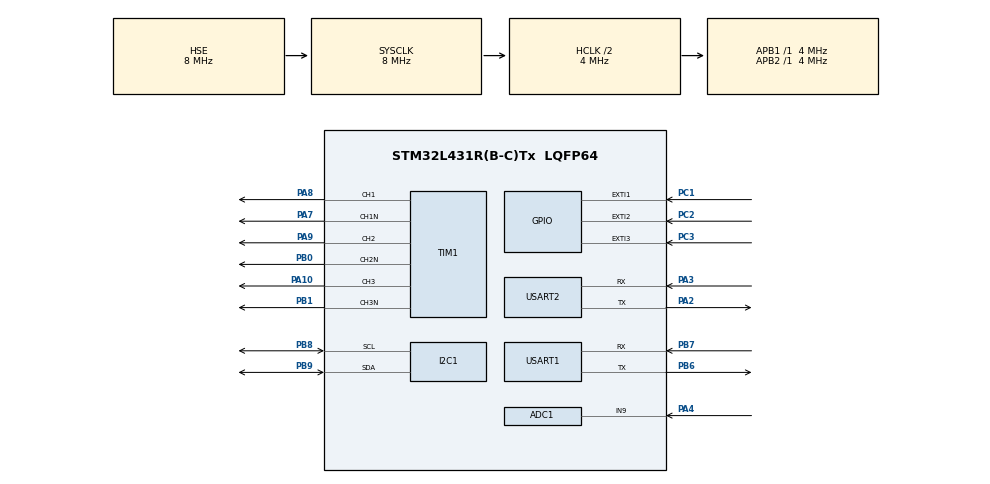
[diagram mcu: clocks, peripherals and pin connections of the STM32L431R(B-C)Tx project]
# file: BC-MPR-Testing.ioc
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ADC1.Channel-0\#ChannelRegularConversion=ADC_CHANNEL_9
ADC1.NbrOfConversionFlag=1
ADC1.OffsetNumber-0\#ChannelRegularConversion=ADC_OFFSET_NONE
ADC1.Rank-0\#ChannelRegularConversion=1
ADC1.Resolution=ADC_RESOLUTION_8B
ADC1.SamplingTime-0\#ChannelRegularConversion=ADC_SAMPLETIME_2CYCLES_5
ADC1.master=1
I2C1.Timing=0x00100D14
Mcu.Family=STM32L4
Mcu.Name=STM32L431R(B-C)Tx
Mcu.Package=LQFP64
NVIC.EXTI1_IRQn=true\:0\:0\:false\:false\:true\:true\:true\:true
NVIC.EXTI2_IRQn=true\:0\:0\:false\:false\:true\:true\:true\:true
NVIC.EXTI3_IRQn=true\:0\:0\:false\:false\:true\:true\:true\:true
NVIC.PriorityGroup=NVIC_PRIORITYGROUP_4
PA10.Signal=S_TIM1_CH3
PA13\ (JTMS-SWDIO).Mode=JTAG_5_pins
PA13\ (JTMS-SWDIO).Signal=SYS_JTMS-SWDIO
PA14\ (JTCK-SWCLK).Mode=JTAG_5_pins
PA14\ (JTCK-SWCLK).Signal=SYS_JTCK-SWCLK
PA15\ (JTDI).Mode=JTAG_5_pins
PA15\ (JTDI).Signal=SYS_JTDI
PA2.Mode=Asynchronous
PA2.Signal=USART2_TX
PA3.Mode=Asynchronous
PA3.Signal=USART2_RX
PA4.Signal=ADCx_IN9
PA7.Mode=PWM Generation1 CH1 CH1N
PA7.Signal=TIM1_CH1N
PA8.Signal=S_TIM1_CH1
PA9.Signal=S_TIM1_CH2
PB0.Mode=PWM Generation2 CH2 CH2N
PB0.Signal=TIM1_CH2N
PB1.Mode=PWM Generation3 CH3 CH3N
PB1.Signal=TIM1_CH3N
PB3\ (JTDO-TRACESWO).Mode=JTAG_5_pins
PB3\ (JTDO-TRACESWO).Signal=SYS_JTDO-SWO
PB4\ (NJTRST).Mode=JTAG_5_pins
PB4\ (NJTRST).Signal=SYS_JTRST
PB6.Mode=Asynchronous
PB6.Signal=USART1_TX
PB7.Mode=Asynchronous
PB7.Signal=USART1_RX
PB8.Mode=I2C
PB8.Signal=I2C1_SCL
PB9.Mode=I2C
PB9.Signal=I2C1_SDA
PC1.Signal=GPXTI1
PC14-OSC32_IN\ (PC14).Mode=LSE-External-Oscillator
PC14-OSC32_IN\ (PC14).Signal=RCC_OSC32_IN
PC15-OSC32_OUT\ (PC15).Mode=LSE-External-Oscillator
PC15-OSC32_OUT\ (PC15).Signal=RCC_OSC32_OUT
PC2.Signal=GPXTI2
PC3.Signal=GPXTI3
PH0-OSC_IN\ (PH0).Mode=HSE-External-Oscillator
PH0-OSC_IN\ (PH0).Signal=RCC_OSC_IN
PH1-OSC_OUT\ (PH1).Mode=HSE-External-Oscillator
PH1-OSC_OUT\ (PH1).Signal=RCC_OSC_OUT
ProjectManager.HeapSize=0x200
ProjectManager.StackSize=0x400
ProjectManager.TargetToolchain=STM32CubeIDE
RCC.ADCFreq_Value=32000000
RCC.AHBCLKDivider=RCC_SYSCLK_DIV2
RCC.AHBFreq_Value=4000000
RCC.APB1Freq_Value=4000000
RCC.APB1TimFreq_Value=4000000
RCC.APB2Freq_Value=4000000
RCC.APB2TimFreq_Value=4000000
RCC.CortexFreq_Value=4000000
RCC.HCLKFreq_Value=4000000
RCC.HSE_VALUE=8000000
RCC.HSI48_VALUE=48000000
RCC.HSI_VALUE=16000000
RCC.MSI_VALUE=4000000
RCC.PLLSourceVirtual=RCC_PLLSOURCE_HSE
RCC.SYSCLKFreq_VALUE=8000000
RCC.SYSCLKSource=RCC_SYSCLKSOURCE_HSE
RCC.VCOOutputFreq_Value=64000000
SH.ADCx_IN9.0=ADC1_IN9,IN9-Single-Ended
SH.S_TIM1_CH1.0=TIM1_CH1,PWM Generation1 CH1 CH1N
SH.S_TIM1_CH2.0=TIM1_CH2,PWM Generation2 CH2 CH2N
SH.S_TIM1_CH3.0=TIM1_CH3,PWM Generation3 CH3 CH3N
TIM1.Channel-PWM\ Generation1\ CH1\ CH1N=TIM_CHANNEL_1
TIM1.Channel-PWM\ Generation2\ CH2\ CH2N=TIM_CHANNEL_2
TIM1.Channel-PWM\ Generation3\ CH3\ CH3N=TIM_CHANNEL_3
USART1.VirtualMode-Asynchronous=VM_ASYNC
USART2.VirtualMode-Asynchronous=VM_ASYNC
VP_TIM1_VS_ClockSourceINT.Mode=Internal
board=custom

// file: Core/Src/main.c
/* USER CODE BEGIN Header */
/**
  ******************************************************************************
  * @file           : main.c
  * @brief          : Main program body
  ******************************************************************************
  * @attention
  *
  * Copyright (c) 2025 STMicroelectronics.
  * All rights reserved.
  *
  * This software is licensed under terms that can be found in the LICENSE file
  * in the root directory of this software component.
  * If no LICENSE file comes with this software, it is provided AS-IS.
  *
  ******************************************************************************
  */
/* USER CODE END Header */
#include "main.h"

/* USER CODE BEGIN Includes */
#include <stdio.h>
/* USER CODE END Includes */

/* USER CODE BEGIN PD */
// BQ25756 I2C and register addresses
#define BQ25756_ADDR 			0x6B << 1

#define BQ25756_CHG_VLIM 			0x00
#define BQ25756_CHG_ILIM			0x02
#define BQ25756_INP_DPM_ILIM		0x06
#define BQ25756_INP_DPM_VLIM		0x08
#define BQ25756_INP_REV_ILIM		0x0A
#define BQ25756_INP_REV_VLIM		0x0C
#define BQ25756_PCHG_ILIM			0x10
#define BQ25756_CHG_ITERM			0x12
#define BQ25756_PCHG_TERM_CTRL		0x14
#define BQ25756_TIM_CTRL			0x15
#define BQ25756_3STG_CHG_CTRL		0x16
#define BQ25756_CHGR_CTRL			0x17
#define BQ25756_PIN_CTRL			0x18
#define BQ25756_PWR_REV_CTRL		0x19
#define BQ25756_MPPT_CTRL			0x1A
#define BQ25756_TS_CHG_THR_CTRL		0x1B
#define BQ25756_TS_CHG_RGN_CTRL		0x1C
#define BQ25756_TS_REV_THR_CTRL		0x1D
#define BQ25756_REV_UV_CTRL			0x1E
#define BQ25756_VAC_MPP_DET			0x1F
#define BQ25756_CHGR_STAT1			0x21
#define BQ25756_CHGR_STAT2			0x22
#define BQ25756_CHGR_STAT3			0x23
#define BQ25756_FLT_STAT			0x24
#define BQ25756_CHGR_FLAG1			0x25
#define BQ25756_CHGR_FLAG2			0x26
#define BQ25756_FLT_FLAG			0x27
#define BQ25756_CHGR_MSK1			0x28
#define BQ25756_CHGR_MSK2			0x29
#define BQ25756_FLT_MSK				0x2A
#define BQ25756_ADC_CTRL			0x2B
#define BQ25756_ADC_CH_CTRL			0x2C
#define BQ25756_IAC_ADC				0x2D
#define BQ25756_IBAT_ADC			0x2F
#define BQ25756_VAC_ADC				0x31
#define BQ25756_VBAT_ADC			0x33
#define BQ25756_TS_ADC				0x37
#define BQ25756_VFB_ADC				0x39
#define BQ25756_GDRV_STR_CTRL		0x3B
#define BQ25756_GDRV_DT_CTRL		0x3C
#define BQ25756_PART_INFO			0x3D
#define BQ25756_REV_IBAT_DSG		0x62

/* USER CODE END PD */

ADC_HandleTypeDef hadc1;

I2C_HandleTypeDef hi2c1;

TIM_HandleTypeDef htim1;

UART_HandleTypeDef huart1;
UART_HandleTypeDef huart2;

/* USER CODE BEGIN PV */
uint8_t currentDutyCycle = 0;
/* USER CODE END PV */

void SystemClock_Config(void);
static void MX_GPIO_Init(void);
static void MX_I2C1_Init(void);
static void MX_TIM1_Init(void);
static void MX_USART1_UART_Init(void);
static void MX_USART2_UART_Init(void);
static void MX_ADC1_Init(void);
/* USER CODE BEGIN PFP */
uint16_t ReadThrottle();
uint8_t GetHallSector();
void SetCommutation(uint8_t sector, uint8_t duty);
/* USER CODE END PFP */

/* USER CODE BEGIN 0 */
int _write(int file, char *data, int len) {
    // Redirect printf to UART
    HAL_UART_Transmit(&huart2, (uint8_t*)data, len, HAL_MAX_DELAY);
    return len;
}
/* USER CODE END 0 */

int main(void)
{

  /* MCU Configuration--------------------------------------------------------*/

  /* Reset of all peripherals, Initializes the Flash interface and the Systick. */
  HAL_Init();

  /* USER CODE BEGIN Init */
  // Arrays for I2C communication
  uint8_t txData[3] = {0};
  uint8_t rxData[16] = {0};

  // Variables for storing read values from ADCs
  int16_t busCurrentADC = 0;
  int16_t battCurrentADC = 0;
  uint16_t busVoltageADC = 0;
  uint16_t battVoltageADC = 0;

  // 32-bit variables to avoid overflow when converting bit-step of ADCs to actual values
  int32_t busCurrent32 = 0;
  int32_t battCurrent32 = 0;
  uint32_t busVoltage32 = 0;
  uint32_t battVoltage32 = 0;

  uint8_t chgStatus1 = 0;
  uint8_t chgStatus2 = 0;
  uint8_t chgStatus3 = 0;
  uint8_t fltStatus = 0;

  /* USER CODE END Init */

  /* Configure the system clock */
  SystemClock_Config();

  /* Initialize all configured peripherals */
  MX_GPIO_Init();
  MX_I2C1_Init();
  MX_TIM1_Init();
  MX_USART1_UART_Init();
  MX_USART2_UART_Init();
  MX_ADC1_Init();
  /* USER CODE BEGIN 2 */
  /********* Configuring the BQ25756 registers *********/
  // Charge voltage limit: FB limit set to 1.532V
  txData[0] = BQ25756_CHG_VLIM;
  txData[1] = 0x0E;
  txData[2] = 0x00;
  HAL_I2C_Master_Transmit(&hi2c1, BQ25756_ADDR, txData, 3, HAL_MAX_DELAY);

  // Charge current limit: Set to 15A (6000mA with 5mΩ resistor = 15000mA with 2mΩ resistor)
  txData[0] = BQ25756_CHG_ILIM;
  txData[1] = 0xE0;
  txData[2] = 0x01;
  HAL_I2C_Master_Transmit(&hi2c1, BQ25756_ADDR, txData, 3, HAL_MAX_DELAY);

  // Input current DPM limit: Set to 25A (10000mA with 5mΩ resistor = 25000mA with 2mΩ resistor)
  txData[0] = BQ25756_INP_DPM_ILIM;
  txData[1] = 0x20;
  txData[2] = 0x03;
  HAL_I2C_Master_Transmit(&hi2c1, BQ25756_ADDR, txData, 3, HAL_MAX_DELAY);

  // Input voltage DPM limit: Set to 48V
  txData[0] = BQ25756_INP_DPM_VLIM;
  txData[1] = 0x80;
  txData[2] = 0x25;
  HAL_I2C_Master_Transmit(&hi2c1, BQ25756_ADDR, txData, 3, HAL_MAX_DELAY);

  // Reverse mode input current limit: Set to 36A (14400mA with 5mΩ resistor = 36000mA with 2mΩ resistor)
  txData[0] = BQ25756_INP_REV_ILIM;
  txData[1] = 0x80;
  txData[2] = 0x04;
  HAL_I2C_Master_Transmit(&hi2c1, BQ25756_ADDR, txData, 3, HAL_MAX_DELAY);

  // Reverse mode input voltage regulation: Set to 36V
  txData[0] = BQ25756_INP_REV_VLIM;
  txData[1] = 0x20;
  txData[2] = 0x1C;
  HAL_I2C_Master_Transmit(&hi2c1, BQ25756_ADDR, txData, 3, HAL_MAX_DELAY);

  // Precharge current limit: Set to 3A (1200mA with 5mΩ resistor = 3000mA with 2mΩ resistor)
  txData[0] = BQ25756_PCHG_ILIM;
  txData[1] = 0x60;
  txData[2] = 0x00;
  HAL_I2C_Master_Transmit(&hi2c1, BQ25756_ADDR, txData, 3, HAL_MAX_DELAY);

  // Timer Control: Disable watchdog
  txData[0] = BQ25756_TIM_CTRL;
  txData[1] = 0x0D;
  HAL_I2C_Master_Transmit(&hi2c1, BQ25756_ADDR, txData, 2, HAL_MAX_DELAY);

  // Charger Control: Disable charging
  txData[0] = BQ25756_CHGR_CTRL;
  txData[1] = 0xD0;
  HAL_I2C_Master_Transmit(&hi2c1, BQ25756_ADDR, txData, 2, HAL_MAX_DELAY);

  // Pin configurations: Disable ICHG, ILIM_HIZ pins
  txData[0] = BQ25756_PIN_CTRL;
  txData[1] = 0x00;
  HAL_I2C_Master_Transmit(&hi2c1, BQ25756_ADDR, txData, 2, HAL_MAX_DELAY);

  // TS charging threshold control: Set thresholds as -10ºC COLD, 5ºC COOL, 50ºC WARM, 60ºC HOT
  txData[0] = BQ25756_TS_CHG_THR_CTRL;
  txData[1] = 0xA0;
  HAL_I2C_Master_Transmit(&hi2c1, BQ25756_ADDR, txData, 2, HAL_MAX_DELAY);

  // TS charging region behavior: Ignore TS pin for charging control
  txData[0] = BQ25756_TS_CHG_RGN_CTRL;
  txData[1] = 0x5A;
  HAL_I2C_Master_Transmit(&hi2c1, BQ25756_ADDR, txData, 2, HAL_MAX_DELAY);

  // Reverse undervoltage control: Fix UVP at 3.3V
  txData[0] = BQ25756_REV_UV_CTRL;
  txData[1] = 0x20;
//  HAL_I2C_Master_Transmit(&hi2c1, BQ25756_ADDR, txData, 2, HAL_MAX_DELAY);

  // ADC control: Enable ADC in one-shot mode, 15-bit effective resolution (24ms sample time)
  txData[0] = BQ25756_ADC_CTRL;
  txData[1] = 0xC0;
  HAL_I2C_Master_Transmit(&hi2c1, BQ25756_ADDR, txData, 2, HAL_MAX_DELAY);

  // ADC channel control: Enable all ADC channels
  txData[0] = BQ25756_ADC_CH_CTRL;
  txData[1] = 0x00;
  HAL_I2C_Master_Transmit(&hi2c1, BQ25756_ADDR, txData, 2, HAL_MAX_DELAY);

  // Reverse mode battery discharge: Disable fast transient response
  txData[0] = BQ25756_REV_IBAT_DSG;
  txData[1] = 0x00;
  HAL_I2C_Master_Transmit(&hi2c1, BQ25756_ADDR, txData, 2, HAL_MAX_DELAY);

  // Power path and reverse mode control: Enable reverse mode (regulate VAC)
  txData[0] = BQ25756_PWR_REV_CTRL;
  txData[1] = 0x01; // TODO: Check if enabling IAC load changes anything
  HAL_I2C_Master_Transmit(&hi2c1, BQ25756_ADDR, txData, 2, HAL_MAX_DELAY);

  /* USER CODE END 2 */

  /* Infinite loop */
  /* USER CODE BEGIN WHILE */
  while (1)
  {
	  // 1 second delay between all ADC reads
	  HAL_Delay(1000);

	  // Reset watchdog, trigger ADC readings
	  txData[0] = BQ25756_CHGR_CTRL;
	  txData[1] = 0xE9;
//	  HAL_I2C_Master_Transmit(&hi2c1, BQ25756_ADDR, txData, 2, HAL_MAX_DELAY);

	  txData[0] = BQ25756_ADC_CTRL;
	  txData[1] = 0xC0;
	  HAL_I2C_Master_Transmit(&hi2c1, BQ25756_ADDR, txData, 2, HAL_MAX_DELAY);
//
//	  txData[0] = BQ25756_ADC_CH_CTRL;
//	  txData[1] = 0x00;
//	  HAL_I2C_Master_Transmit(&hi2c1, BQ25756_ADDR, txData, 2, HAL_MAX_DELAY);

	  HAL_Delay(200); // Give time for ADC conversion to finish

	  // Read all reported ADC readings
	  txData[0] = BQ25756_IAC_ADC;
	  HAL_I2C_Master_Transmit(&hi2c1, BQ25756_ADDR, txData, 1, HAL_MAX_DELAY);
	  HAL_I2C_Master_Receive(&hi2c1, BQ25756_ADDR, rxData, 8, HAL_MAX_DELAY);

	  // Convert ADC readings based on bit step
	  // IBUS: 0.8mA bit-step with 5mΩ resistor = 2mA bit-step with 2mΩ resistor
	  busCurrentADC = (rxData[0] | (rxData[1] << 8));
	  busCurrent32 = 0;
	  for (int i = 0; i < 2; i++) {busCurrent32 += busCurrentADC;}

	  // IBAT: 2mA bit-step with 5mΩ resistor = 5mA bit-step with 2mΩ resistor
	  battCurrentADC = (rxData[2] | (rxData[3] << 8));
	  battCurrent32 = 0;
	  for (int i = 0; i < 5; i++) {battCurrent32 += battCurrentADC;}

	  // VBUS: 2mV bit-step
	  busVoltageADC = (rxData[4] | (rxData[5] << 8));
	  busVoltage32 = 0;
	  for (int i = 0; i < 2; i++) {busVoltage32 += busVoltageADC;}
	  // VBAT: 2mV bit-step
	  battVoltageADC = (rxData[6] | (rxData[7] << 8)); // 2mV bit-step
	  battVoltage32 = 0;
	  for (int i = 0; i < 2; i++) {battVoltage32 += battVoltageADC;}

	  // Read all statuses and faults
	  txData[0] = BQ25756_CHGR_STAT1;
	  HAL_I2C_Master_Transmit(&hi2c1, BQ25756_ADDR, txData, 1, HAL_MAX_DELAY);
	  HAL_I2C_Master_Receive(&hi2c1, BQ25756_ADDR, rxData, 4, HAL_MAX_DELAY);

	  // Store readings
	  chgStatus1 = rxData[0];
	  chgStatus2 = rxData[1];
	  chgStatus3 = rxData[2];
	  fltStatus = rxData[3];

	  // Broadcast ADC readings to UART
	  printf("\n*********************** BQ25756 ADC READINGS ***********************\r\n");
	  printf("I_BUS: %ld mA \t", busCurrent32);
	  printf("I_BATT: %ld mA \t", battCurrent32);
	  printf("V_BUS: %ld mV \t", busVoltage32);
	  printf("V_BATT: %ld mV\r\n", battVoltage32);

	  // Broadcast current status
	  printf("Current BQ25756 status: ");
	  if (chgStatus1 & (1 << 6)) {
		  printf("In input current regulation mode; ");
	  }
	  if (chgStatus1 & (1 << 5)) {
		  printf("In input voltage regulation mode; ");
	  }
	  if (chgStatus2 & (1 << 7)) {
		  printf("Input power good; ");
	  }
	  if (chgStatus3 & (1 << 3)) {
		  printf("CV Timer expired; ");
	  }
	  if (chgStatus3 & (1 << 2)) {
		  printf("Converter Reverse Mode On;");
	  }
	  printf("\r\n");

	  // Broadcast any detected faults
	  if (fltStatus & (1 << 1)) {
		  printf("Detected fault: DRV_SUP not OK\r\n");
	  }
	  if (fltStatus & (1 << 2)) {
		  printf("Detected fault: Charge safety timer expired\r\n");
	  }
	  if (fltStatus & (1 << 3)) {
		  printf("Detected fault: Thermal shutdown active\r\n");
	  }
	  if (fltStatus & (1 << 4)) {
		  printf("Detected fault: Battery overvoltage fault\r\n");
	  }
	  if (fltStatus & (1 << 5)) {
		  printf("Detected fault: Battery overcurrent fault\r\n");
	  }
	  if (fltStatus & (1 << 6)) {
		  printf("Detected fault: Input overvoltage fault\r\n");
	  }
	  if (fltStatus & (1 << 7)) {
		  printf("Detected fault: Input undervoltage fault\r\n");
	  }

    /* USER CODE END WHILE */

  }
}

void SystemClock_Config(void)
{
  RCC_OscInitTypeDef RCC_OscInitStruct = {0};
  RCC_ClkInitTypeDef RCC_ClkInitStruct = {0};

  /** Configure the main internal regulator output voltage
  */
  if (HAL_PWREx_ControlVoltageScaling(PWR_REGULATOR_VOLTAGE_SCALE1) != HAL_OK)
  {
    Error_Handler();
  }

  /** Initializes the RCC Oscillators according to the specified parameters
  * in the RCC_OscInitTypeDef structure.
  */
  RCC_OscInitStruct.OscillatorType = RCC_OSCILLATORTYPE_HSE;
  RCC_OscInitStruct.HSEState = RCC_HSE_ON;
  RCC_OscInitStruct.PLL.PLLState = RCC_PLL_NONE;
  if (HAL_RCC_OscConfig(&RCC_OscInitStruct) != HAL_OK)
  {
    Error_Handler();
  }

  /** Initializes the CPU, AHB and APB buses clocks
  */
  RCC_ClkInitStruct.ClockType = RCC_CLOCKTYPE_HCLK|RCC_CLOCKTYPE_SYSCLK
                              |RCC_CLOCKTYPE_PCLK1|RCC_CLOCKTYPE_PCLK2;
  RCC_ClkInitStruct.SYSCLKSource = RCC_SYSCLKSOURCE_HSE;
  RCC_ClkInitStruct.AHBCLKDivider = RCC_SYSCLK_DIV2;
  RCC_ClkInitStruct.APB1CLKDivider = RCC_HCLK_DIV1;
  RCC_ClkInitStruct.APB2CLKDivider = RCC_HCLK_DIV1;

  if (HAL_RCC_ClockConfig(&RCC_ClkInitStruct, FLASH_LATENCY_0) != HAL_OK)
  {
    Error_Handler();
  }
}

static void MX_ADC1_Init(void)
{

  ADC_ChannelConfTypeDef sConfig = {0};

  /** Common config
  */
  hadc1.Instance = ADC1;
  hadc1.Init.ClockPrescaler = ADC_CLOCK_ASYNC_DIV1;
  hadc1.Init.Resolution = ADC_RESOLUTION_8B;
  hadc1.Init.DataAlign = ADC_DATAALIGN_RIGHT;
  hadc1.Init.ScanConvMode = ADC_SCAN_DISABLE;
  hadc1.Init.EOCSelection = ADC_EOC_SINGLE_CONV;
  hadc1.Init.LowPowerAutoWait = DISABLE;
  hadc1.Init.ContinuousConvMode = DISABLE;
  hadc1.Init.NbrOfConversion = 1;
  hadc1.Init.DiscontinuousConvMode = DISABLE;
  hadc1.Init.ExternalTrigConv = ADC_SOFTWARE_START;
  hadc1.Init.ExternalTrigConvEdge = ADC_EXTERNALTRIGCONVEDGE_NONE;
  hadc1.Init.DMAContinuousRequests = DISABLE;
  hadc1.Init.Overrun = ADC_OVR_DATA_PRESERVED;
  hadc1.Init.OversamplingMode = DISABLE;
  if (HAL_ADC_Init(&hadc1) != HAL_OK)
  {
    Error_Handler();
  }

  /** Configure Regular Channel
  */
  sConfig.Channel = ADC_CHANNEL_9;
  sConfig.Rank = ADC_REGULAR_RANK_1;
  sConfig.SamplingTime = ADC_SAMPLETIME_2CYCLES_5;
  sConfig.SingleDiff = ADC_SINGLE_ENDED;
  sConfig.OffsetNumber = ADC_OFFSET_NONE;
  sConfig.Offset = 0;
  if (HAL_ADC_ConfigChannel(&hadc1, &sConfig) != HAL_OK)
  {
    Error_Handler();
  }

}

static void MX_I2C1_Init(void)
{

  hi2c1.Instance = I2C1;
  hi2c1.Init.Timing = 0x00100D14;
  hi2c1.Init.OwnAddress1 = 0;
  hi2c1.Init.AddressingMode = I2C_ADDRESSINGMODE_7BIT;
  hi2c1.Init.DualAddressMode = I2C_DUALADDRESS_DISABLE;
  hi2c1.Init.OwnAddress2 = 0;
  hi2c1.Init.OwnAddress2Masks = I2C_OA2_NOMASK;
  hi2c1.Init.GeneralCallMode = I2C_GENERALCALL_DISABLE;
  hi2c1.Init.NoStretchMode = I2C_NOSTRETCH_DISABLE;
  if (HAL_I2C_Init(&hi2c1) != HAL_OK)
  {
    Error_Handler();
  }

  /** Configure Analogue filter
  */
  if (HAL_I2CEx_ConfigAnalogFilter(&hi2c1, I2C_ANALOGFILTER_ENABLE) != HAL_OK)
  {
    Error_Handler();
  }

  /** Configure Digital filter
  */
  if (HAL_I2CEx_ConfigDigitalFilter(&hi2c1, 0) != HAL_OK)
  {
    Error_Handler();
  }

}

static void MX_TIM1_Init(void)
{

  TIM_ClockConfigTypeDef sClockSourceConfig = {0};
  TIM_MasterConfigTypeDef sMasterConfig = {0};
  TIM_OC_InitTypeDef sConfigOC = {0};
  TIM_BreakDeadTimeConfigTypeDef sBreakDeadTimeConfig = {0};

  htim1.Instance = TIM1;
  htim1.Init.Prescaler = 0;
  htim1.Init.CounterMode = TIM_COUNTERMODE_UP;
  htim1.Init.Period = 65535;
  htim1.Init.ClockDivision = TIM_CLOCKDIVISION_DIV1;
  htim1.Init.RepetitionCounter = 0;
  htim1.Init.AutoReloadPreload = TIM_AUTORELOAD_PRELOAD_DISABLE;
  if (HAL_TIM_Base_Init(&htim1) != HAL_OK)
  {
    Error_Handler();
  }
  sClockSourceConfig.ClockSource = TIM_CLOCKSOURCE_INTERNAL;
  if (HAL_TIM_ConfigClockSource(&htim1, &sClockSourceConfig) != HAL_OK)
  {
    Error_Handler();
  }
  if (HAL_TIM_PWM_Init(&htim1) != HAL_OK)
  {
    Error_Handler();
  }
  sMasterConfig.MasterOutputTrigger = TIM_TRGO_RESET;
  sMasterConfig.MasterOutputTrigger2 = TIM_TRGO2_RESET;
  sMasterConfig.MasterSlaveMode = TIM_MASTERSLAVEMODE_DISABLE;
  if (HAL_TIMEx_MasterConfigSynchronization(&htim1, &sMasterConfig) != HAL_OK)
  {
    Error_Handler();
  }
  sConfigOC.OCMode = TIM_OCMODE_PWM1;
  sConfigOC.Pulse = 0;
  sConfigOC.OCPolarity = TIM_OCPOLARITY_HIGH;
  sConfigOC.OCNPolarity = TIM_OCNPOLARITY_HIGH;
  sConfigOC.OCFastMode = TIM_OCFAST_DISABLE;
  sConfigOC.OCIdleState = TIM_OCIDLESTATE_RESET;
  sConfigOC.OCNIdleState = TIM_OCNIDLESTATE_RESET;
  if (HAL_TIM_PWM_ConfigChannel(&htim1, &sConfigOC, TIM_CHANNEL_1) != HAL_OK)
  {
    Error_Handler();
  }
  if (HAL_TIM_PWM_ConfigChannel(&htim1, &sConfigOC, TIM_CHANNEL_2) != HAL_OK)
  {
    Error_Handler();
  }
  if (HAL_TIM_PWM_ConfigChannel(&htim1, &sConfigOC, TIM_CHANNEL_3) != HAL_OK)
  {
    Error_Handler();
  }
  sBreakDeadTimeConfig.OffStateRunMode = TIM_OSSR_DISABLE;
  sBreakDeadTimeConfig.OffStateIDLEMode = TIM_OSSI_DISABLE;
  sBreakDeadTimeConfig.LockLevel = TIM_LOCKLEVEL_OFF;
  sBreakDeadTimeConfig.DeadTime = 0;
  sBreakDeadTimeConfig.BreakState = TIM_BREAK_DISABLE;
  sBreakDeadTimeConfig.BreakPolarity = TIM_BREAKPOLARITY_HIGH;
  sBreakDeadTimeConfig.BreakFilter = 0;
  sBreakDeadTimeConfig.Break2State = TIM_BREAK2_DISABLE;
  sBreakDeadTimeConfig.Break2Polarity = TIM_BREAK2POLARITY_HIGH;
  sBreakDeadTimeConfig.Break2Filter = 0;
  sBreakDeadTimeConfig.AutomaticOutput = TIM_AUTOMATICOUTPUT_DISABLE;
  if (HAL_TIMEx_ConfigBreakDeadTime(&htim1, &sBreakDeadTimeConfig) != HAL_OK)
  {
    Error_Handler();
  }
  HAL_TIM_MspPostInit(&htim1);

}

static void MX_USART1_UART_Init(void)
{

  huart1.Instance = USART1;
  huart1.Init.BaudRate = 115200;
  huart1.Init.WordLength = UART_WORDLENGTH_8B;
  huart1.Init.StopBits = UART_STOPBITS_1;
  huart1.Init.Parity = UART_PARITY_NONE;
  huart1.Init.Mode = UART_MODE_TX_RX;
  huart1.Init.HwFlowCtl = UART_HWCONTROL_NONE;
  huart1.Init.OverSampling = UART_OVERSAMPLING_16;
  huart1.Init.OneBitSampling = UART_ONE_BIT_SAMPLE_DISABLE;
  huart1.AdvancedInit.AdvFeatureInit = UART_ADVFEATURE_NO_INIT;
  if (HAL_UART_Init(&huart1) != HAL_OK)
  {
    Error_Handler();
  }

}

static void MX_USART2_UART_Init(void)
{

  huart2.Instance = USART2;
  huart2.Init.BaudRate = 115200;
  huart2.Init.WordLength = UART_WORDLENGTH_8B;
  huart2.Init.StopBits = UART_STOPBITS_1;
  huart2.Init.Parity = UART_PARITY_NONE;
  huart2.Init.Mode = UART_MODE_TX_RX;
  huart2.Init.HwFlowCtl = UART_HWCONTROL_NONE;
  huart2.Init.OverSampling = UART_OVERSAMPLING_16;
  huart2.Init.OneBitSampling = UART_ONE_BIT_SAMPLE_DISABLE;
  huart2.AdvancedInit.AdvFeatureInit = UART_ADVFEATURE_NO_INIT;
  if (HAL_UART_Init(&huart2) != HAL_OK)
  {
    Error_Handler();
  }

}

static void MX_GPIO_Init(void)
{
  GPIO_InitTypeDef GPIO_InitStruct = {0};

  /* GPIO Ports Clock Enable */
  __HAL_RCC_GPIOC_CLK_ENABLE();
  __HAL_RCC_GPIOH_CLK_ENABLE();
  __HAL_RCC_GPIOA_CLK_ENABLE();
  __HAL_RCC_GPIOB_CLK_ENABLE();

  /*Configure GPIO pins : PC1 PC2 PC3 */
  GPIO_InitStruct.Pin = GPIO_PIN_1|GPIO_PIN_2|GPIO_PIN_3;
  GPIO_InitStruct.Mode = GPIO_MODE_IT_RISING;
  GPIO_InitStruct.Pull = GPIO_NOPULL;
  HAL_GPIO_Init(GPIOC, &GPIO_InitStruct);

  /* EXTI interrupt init*/
  HAL_NVIC_SetPriority(EXTI1_IRQn, 0, 0);
  HAL_NVIC_EnableIRQ(EXTI1_IRQn);

  HAL_NVIC_SetPriority(EXTI2_IRQn, 0, 0);
  HAL_NVIC_EnableIRQ(EXTI2_IRQn);

  HAL_NVIC_SetPriority(EXTI3_IRQn, 0, 0);
  HAL_NVIC_EnableIRQ(EXTI3_IRQn);

}

/* USER CODE BEGIN 4 */
/**
 * Defining ISR for change in state in any of the hall effect sensors
 */
void HAL_GPIO_EXTI_Callback(uint16_t GPIO_Pin) {
    // Respond to any Hall sensor pin change
    if (GPIO_Pin == GPIO_PIN_1 || GPIO_Pin == GPIO_PIN_2 || GPIO_Pin == GPIO_PIN_3) {
        uint8_t sector = GetHallSector();
        SetCommutation(sector, currentDutyCycle);
    }
}

/**
 * Reads the ADC input for the throttle
 * @return Value between 0-255, representing throttle
 */
uint16_t ReadThrottle() {
    HAL_ADC_Start(&hadc1);
    HAL_ADC_PollForConversion(&hadc1, HAL_MAX_DELAY);
    return HAL_ADC_GetValue(&hadc1);
}

/**
 * Reads the hall effect sensor inputs
 * @return 3-bit integer representing, from MSB to LSB, hall A, B, C
 */
uint8_t GetHallSector() {
    uint8_t hallA = HAL_GPIO_ReadPin(GPIOC, GPIO_PIN_1);
    uint8_t hallB = HAL_GPIO_ReadPin(GPIOC, GPIO_PIN_2);
    uint8_t hallC = HAL_GPIO_ReadPin(GPIOC, GPIO_PIN_3);
    return (hallA << 2) | (hallB << 1) | hallC;
}

/**
 * Sets the gate driver outputs based on the hall effect sensors and duty cycle
 * @param sector 3-bit integer representing, from MSB to LSB, hall A, B, C
 * @param duty Duty cycle to use, from 0% to 100%
 */
void SetCommutation(uint8_t sector, uint8_t duty) {
	// Clamp duty to between 20 and 100
	if (duty < 20) duty = 20;
	if (duty > 100) duty = 100;
	// Calculate PWM COMPARE value based on TIM1 settings
    uint32_t ARR = __HAL_TIM_GET_AUTORELOAD(&htim1);
    uint32_t compare = (ARR * duty) / 100;

    // Set duty cycle for all PWM channels
    __HAL_TIM_SET_COMPARE(&htim1, TIM_CHANNEL_1, compare);
    __HAL_TIM_SET_COMPARE(&htim1, TIM_CHANNEL_2, compare);
    __HAL_TIM_SET_COMPARE(&htim1, TIM_CHANNEL_3, compare);

    // Enable/disable appropriate gate inputs based on sensor inputs
    // TIM1 CH1, CH2, CH3 driving phases A, B, C respectively
    switch (sector) {
        case 0b101: // Sector 1: A+ B-
            HAL_TIM_PWM_Start(&htim1, TIM_CHANNEL_1);  		// A+ PWM
            HAL_TIMEx_PWMN_Stop(&htim1, TIM_CHANNEL_1); 	// A- floating
            HAL_TIM_PWM_Stop(&htim1, TIM_CHANNEL_2);   		// B+ floating
            HAL_TIMEx_PWMN_Start(&htim1, TIM_CHANNEL_2);	// B- PWM
            HAL_TIM_PWM_Stop(&htim1, TIM_CHANNEL_3);   		// C+ floating
            HAL_TIMEx_PWMN_Stop(&htim1, TIM_CHANNEL_3); 	// C- floating
            break;
        case 0b100: // Sector 2: A+ C-
            HAL_TIM_PWM_Start(&htim1, TIM_CHANNEL_1);  		// A+ PWM
            HAL_TIMEx_PWMN_Stop(&htim1, TIM_CHANNEL_1); 	// A- floating
            HAL_TIM_PWM_Stop(&htim1, TIM_CHANNEL_2);   		// B+ floating
            HAL_TIMEx_PWMN_Stop(&htim1, TIM_CHANNEL_2);		// B- floating
            HAL_TIM_PWM_Stop(&htim1, TIM_CHANNEL_3);   		// C+ floating
            HAL_TIMEx_PWMN_Start(&htim1, TIM_CHANNEL_3); 	// C- PWM
            break;
        case 0b110: // Sector 3: B+ C-
            HAL_TIM_PWM_Stop(&htim1, TIM_CHANNEL_1);  		// A+ floating
            HAL_TIMEx_PWMN_Stop(&htim1, TIM_CHANNEL_1); 	// A- floating
            HAL_TIM_PWM_Start(&htim1, TIM_CHANNEL_2);		// B+ PWM
            HAL_TIMEx_PWMN_Stop(&htim1, TIM_CHANNEL_2);		// B- floating
            HAL_TIM_PWM_Stop(&htim1, TIM_CHANNEL_3);   		// C+ floating
            HAL_TIMEx_PWMN_Start(&htim1, TIM_CHANNEL_3); 	// C- PWM
            break;
        case 0b010: // Sector 4: B+ A-
            HAL_TIM_PWM_Stop(&htim1, TIM_CHANNEL_1);  		// A+ floating
            HAL_TIMEx_PWMN_Start(&htim1, TIM_CHANNEL_1); 	// A- PWM
            HAL_TIM_PWM_Start(&htim1, TIM_CHANNEL_2);   	// B+ PWM
            HAL_TIMEx_PWMN_Stop(&htim1, TIM_CHANNEL_2);		// B- floating
            HAL_TIM_PWM_Stop(&htim1, TIM_CHANNEL_3);   		// C+ floating
            HAL_TIMEx_PWMN_Stop(&htim1, TIM_CHANNEL_3); 	// C- floating
            break;
        case 0b011: // Sector 5: C+ A-
            HAL_TIM_PWM_Stop(&htim1, TIM_CHANNEL_1);		// A+ floating
            HAL_TIMEx_PWMN_Start(&htim1, TIM_CHANNEL_1);	// A- PWM
            HAL_TIM_PWM_Stop(&htim1, TIM_CHANNEL_2);		// B+ floating
            HAL_TIMEx_PWMN_Stop(&htim1, TIM_CHANNEL_2);		// B- floating
            HAL_TIM_PWM_Start(&htim1, TIM_CHANNEL_3);		// C+ PWM
            HAL_TIMEx_PWMN_Stop(&htim1, TIM_CHANNEL_3); 	// C- floating
            break;
        case 0b001: // Sector 6: C+ B-
            HAL_TIM_PWM_Stop(&htim1, TIM_CHANNEL_1);  		// A+ floating
            HAL_TIMEx_PWMN_Stop(&htim1, TIM_CHANNEL_1); 	// A- floating
            HAL_TIM_PWM_Stop(&htim1, TIM_CHANNEL_2);   		// B+ floating
            HAL_TIMEx_PWMN_Start(&htim1, TIM_CHANNEL_2);	// B- PWM
            HAL_TIM_PWM_Start(&htim1, TIM_CHANNEL_3);		// C+ PWM
            HAL_TIMEx_PWMN_Stop(&htim1, TIM_CHANNEL_3); 	// C- floating
            break;
        default:
            // Invalid state: disable all gate inputs
            HAL_TIM_PWM_Stop(&htim1, TIM_CHANNEL_1);
            HAL_TIM_PWM_Stop(&htim1, TIM_CHANNEL_2);
            HAL_TIM_PWM_Stop(&htim1, TIM_CHANNEL_3);
            HAL_TIMEx_PWMN_Stop(&htim1, TIM_CHANNEL_1);
            HAL_TIMEx_PWMN_Stop(&htim1, TIM_CHANNEL_2);
            HAL_TIMEx_PWMN_Stop(&htim1, TIM_CHANNEL_3);
            break;
    }
}

/* USER CODE END 4 */

void Error_Handler(void)
{
  __disable_irq();
  while (1)
  {
  }
}
